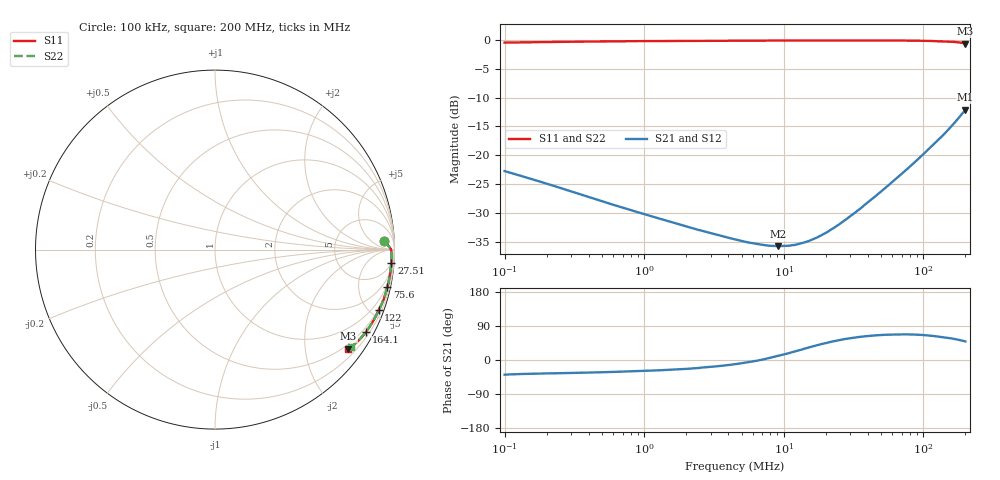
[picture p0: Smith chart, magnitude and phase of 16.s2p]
#  HZ  S  RI  R  50.00
! Rohde & Schwarz Vector Network Analyzer
! Rohde-Schwarz,ZNLE6-2Port,1323001256200024,1.71.1.10-23.02.1.238
! Created: UTC 4/11/2025, 5:57:11 AM
! freq[Hz]  re:S11  im:S11  re:S21  im:S21  re:S12  im:S12  re:S22  im:S22
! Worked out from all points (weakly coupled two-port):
!   1001 points, 100 kHz to 200 MHz, reference 50 ohm
!   highest |S21| = -12.08 dB at 200 MHz (marker M1); lowest = -35.7 dB at 9.137 MHz (marker M2)
!   lowest |S11| = -0.7 dB at 200 MHz (marker M3), VSWR 25.86, Z = 19.4 - j149 ohm
!   |S11| at or under -10 dB: nowhere
!   |S22| runs from -0.6 to -0.1 dB; largest |S21 - S12| = 0.0038
!   S11 on the Smith chart (normalised r, x): 100 kHz: 21, +17; 27.51 MHz: 5, -26; 75.6 MHz: 0.74, -9.21; 122 MHz: 0.44, -5.54; 164.1 MHz: 0.35, -3.88; 200 MHz: 0.39, -2.98
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100000  0.9436 0.0454  0.0572 -0.0457  0.0573 -0.0457  0.9434 0.0452
185090.2  0.9529 0.0337  0.0477 -0.0342  0.0477 -0.0342  0.9527 0.0337
355854.1  0.9624 0.0245  0.038 -0.0253  0.038 -0.0253  0.9623 0.0245
1266322  0.9748 0.0105  0.0254 -0.0131  0.0254 -0.0131  0.9747 0.0106
2397897  0.9788 0.00376  0.0213 -0.00836  0.0213 -0.00835  0.9786 0.00388
4472136  0.9816 -0.00472  0.0184 -0.00361  0.0184 -0.00372  0.9819 -0.00382
6897214  0.983 -0.0131  0.0169 0.000121  0.0169 4.77e-05  0.9831 -0.0124
9137172  0.9838 -0.0203  0.0161 0.00309  0.0162 0.00285  0.9839 -0.0196
1.210459e7  0.9843 -0.0293  0.0155 0.0066  0.0157 0.00629  0.9843 -0.0284
1.591428e7  0.9843 -0.0403  0.0152 0.0108  0.0153 0.0107  0.9844 -0.0394
2.04513e7  0.984 -0.0536  0.0152 0.0155  0.0155 0.0153  0.9842 -0.0523
2.750814e7  0.9828 -0.0736  0.0157 0.0227  0.0158 0.0226  0.9831 -0.0721
3.931964e7  0.9796 -0.1073  0.0175 0.0344  0.0176 0.0343  0.9799 -0.1048
5.663162e7  0.9721 -0.1566  0.0218 0.0511  0.0226 0.0506  0.9729 -0.1524
7.559589e7  0.9604 -0.2097  0.0287 0.0695  0.0299 0.0689  0.9613 -0.2046
9.641201e7  0.943 -0.2676  0.0396 0.09  0.0413 0.0892  0.9444 -0.2621
1.22029e8  0.9122 -0.3385  0.0591 0.1144  0.0606 0.1132  0.9156 -0.3322
1.431478e8  0.8805 -0.3997  0.0789 0.1345  0.0806 0.1332  0.8857 -0.3904
1.641358e8  0.8406 -0.4596  0.1042 0.155  0.1065 0.1531  0.8483 -0.4479
1.784492e8  0.8074 -0.4995  0.1249 0.1681  0.1274 0.166  0.8171 -0.4867
1.940108e8  0.7632 -0.5386  0.1518 0.1819  0.1545 0.1797  0.7763 -0.5273
2e8  0.7432 -0.5516  0.1633 0.1877  0.1662 0.1852  0.7586 -0.5422
